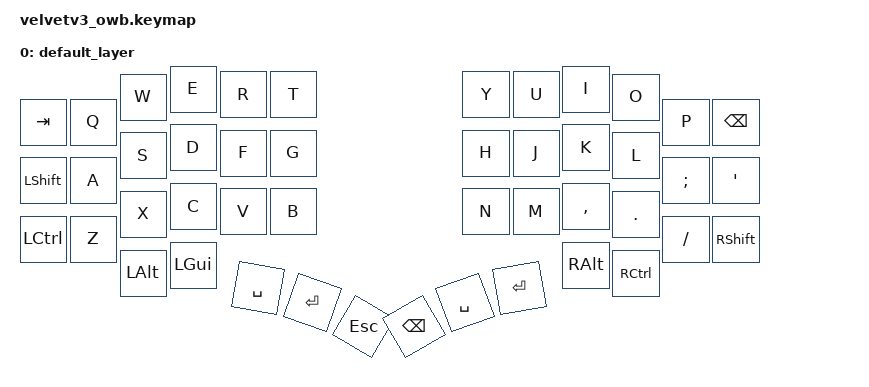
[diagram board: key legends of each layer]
#include <behaviors.dtsi>
#include <dt-bindings/zmk/keys.h>

/ {
    keymap {
        compatible = "zmk,keymap";
        default_layer {
            bindings = <
                &kp TAB  &kp Q &kp W &kp E &kp R &kp T    &kp Y &kp U &kp I &kp O &kp P &kp BSPC
                &kp LSHFT &kp A &kp S &kp D &kp F &kp G   &kp H &kp J &kp K &kp L &kp SEMI &kp SQT
                &kp LCTRL &kp Z &kp X &kp C &kp V &kp B   &kp N &kp M &kp COMMA &kp DOT &kp FSLH &kp RSHFT
                           &kp LALT &kp LGUI &kp SPACE &kp RET &kp ESC   &kp BSPC &kp SPACE &kp RET &kp RALT &kp RCTRL
            >;
        };
    };
};
